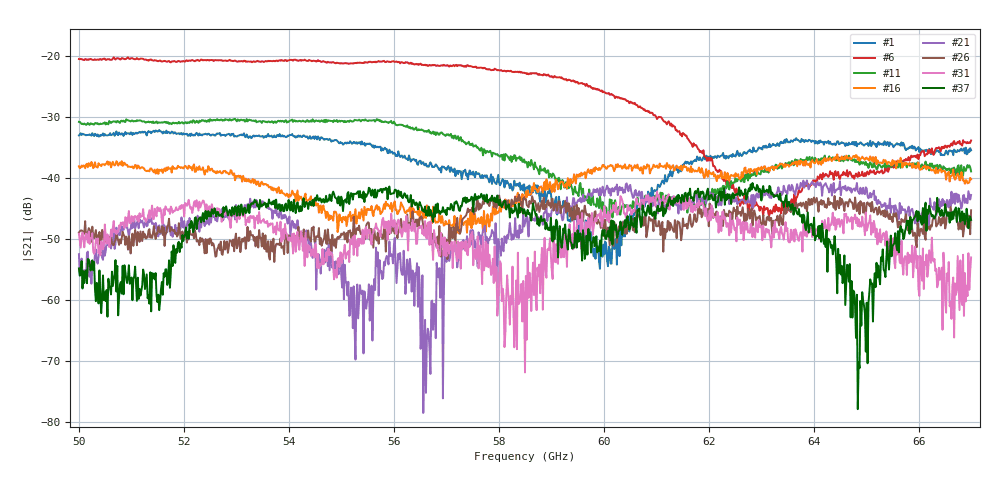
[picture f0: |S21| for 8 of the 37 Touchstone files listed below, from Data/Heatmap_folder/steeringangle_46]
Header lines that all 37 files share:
!Created with skrf (http://scikit-rf.org).
# GHz S RI R 50.0
!freq ReS11 ImS11 ReS21 ImS21 ReS12 ImS12 ReS22 ImS22
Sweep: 50 GHz to 67 GHz
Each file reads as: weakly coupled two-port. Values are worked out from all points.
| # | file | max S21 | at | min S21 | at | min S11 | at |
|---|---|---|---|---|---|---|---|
| 1 | az=0_el=0.s2p | -32.14 dB | 51.53 GHz | -54.9 dB | 59.93 GHz | -45.8 dB | 58.23 GHz |
| 2 | az=1_el=0.s2p | -26.58 dB | 50.71 GHz | -42.5 dB | 62.1 GHz | -47.5 dB | 58.23 GHz |
| 3 | az=2_el=0.s2p | -22.76 dB | 51 GHz | -48.5 dB | 62.63 GHz | -49.7 dB | 58.23 GHz |
| 4 | az=3_el=0.s2p | -20.72 dB | 51 GHz | -48.8 dB | 63.21 GHz | -43.8 dB | 58.23 GHz |
| 5 | az=4_el=0.s2p | -19.87 dB | 50.92 GHz | -44.4 dB | 63.57 GHz | -47.1 dB | 58.23 GHz |
| 6 | az=5_el=0.s2p | -20.23 dB | 50.94 GHz | -46.3 dB | 63.04 GHz | -44.5 dB | 66.49 GHz |
| 7 | az=7_el=0.s2p | -24.17 dB | 50.85 GHz | -44.9 dB | 61.36 GHz | -45.8 dB | 66.49 GHz |
| 8 | az=8_el=0.s2p | -26.97 dB | 50.95 GHz | -66.9 dB | 60.47 GHz | -58.1 dB | 66.49 GHz |
| 9 | az=9_el=0.s2p | -28.84 dB | 50.73 GHz | -44.4 dB | 60.69 GHz | -48.8 dB | 66.49 GHz |
| 10 | az=10_el=0.s2p | -29.02 dB | 56.03 GHz | -66.0 dB | 61.17 GHz | -48.8 dB | 66.49 GHz |
| 11 | az=11_el=0.s2p | -30.33 dB | 52.98 GHz | -47.2 dB | 60.1 GHz | -61.8 dB | 66.49 GHz |
| 12 | az=12_el=0.s2p | -32.80 dB | 50.85 GHz | -54.1 dB | 58.01 GHz | -49.2 dB | 66.49 GHz |
| 13 | az=13_el=0.s2p | -35.36 dB | 63.41 GHz | -46.6 dB | 60.05 GHz | -54.3 dB | 66.49 GHz |
| 14 | az=14_el=0.s2p | -35.42 dB | 54.06 GHz | -74.5 dB | 60.61 GHz | -52.7 dB | 66.49 GHz |
| 15 | az=15_el=0.s2p | -35.26 dB | 52.94 GHz | -43.1 dB | 63.02 GHz | -48.1 dB | 66.49 GHz |
| 16 | az=16_el=0.s2p | -36.14 dB | 64.45 GHz | -49.1 dB | 57.24 GHz | -46.7 dB | 66.49 GHz |
| 17 | az=17_el=0.s2p | -39.61 dB | 59.77 GHz | -57.8 dB | 56.66 GHz | -58.6 dB | 66.49 GHz |
| 18 | az=18_el=0.s2p | -38.97 dB | 66.8 GHz | -55.8 dB | 60.39 GHz | -44.0 dB | 66.49 GHz |
| 19 | az=19_el=0.s2p | -37.15 dB | 65.84 GHz | -59.7 dB | 58.26 GHz | -44.8 dB | 58.23 GHz |
| 20 | az=20_el=0.s2p | -38.06 dB | 60.54 GHz | -71.3 dB | 56.29 GHz | -46.2 dB | 66.49 GHz |
| 21 | az=21_el=0.s2p | -40.39 dB | 63.87 GHz | -78.5 dB | 56.56 GHz | -53.1 dB | 66.49 GHz |
| 22 | az=22_el=0.s2p | -38.93 dB | 63.04 GHz | -78.5 dB | 57.67 GHz | -47.5 dB | 66.49 GHz |
| 23 | az=23_el=0.s2p | -38.44 dB | 62.44 GHz | -75.8 dB | 55.97 GHz | -50.8 dB | 66.49 GHz |
| 24 | az=24_el=0.s2p | -39.89 dB | 61.95 GHz | -85.0 dB | 55.36 GHz | -49.8 dB | 66.49 GHz |
| 25 | az=25_el=0.s2p | -41.37 dB | 59.81 GHz | -62.7 dB | 54.86 GHz | -44.7 dB | 66.49 GHz |
| 26 | az=26_el=0.s2p | -42.71 dB | 58.38 GHz | -53.8 dB | 53.72 GHz | -55.4 dB | 66.49 GHz |
| 27 | az=27_el=0.s2p | -42.43 dB | 63.7 GHz | -64.8 dB | 50.37 GHz | -44.7 dB | 63.69 GHz |
| 28 | az=30_el=0.s2p | -41.11 dB | 58.6 GHz | -75.3 dB | 65.23 GHz | -63.6 dB | 66.49 GHz |
| 29 | az=31_el=0.s2p | -41.10 dB | 62.27 GHz | -58.4 dB | 50.44 GHz | -43.6 dB | 66.49 GHz |
| 30 | az=32_el=0.s2p | -40.32 dB | 61.46 GHz | -61.3 dB | 50.03 GHz | -44.2 dB | 66.49 GHz |
| 31 | az=33_el=0.s2p | -42.22 dB | 61.02 GHz | -71.9 dB | 58.5 GHz | -45.1 dB | 66.49 GHz |
| 32 | az=34_el=0.s2p | -43.67 dB | 55.32 GHz | -80.8 dB | 62.33 GHz | -46.3 dB | 63.69 GHz |
| 33 | az=35_el=0.s2p | -41.19 dB | 63.72 GHz | -81.1 dB | 66.58 GHz | -44.0 dB | 63.69 GHz |
| 34 | az=36_el=0.s2p | -38.41 dB | 63.07 GHz | -61.3 dB | 57.05 GHz | -45.6 dB | 66.49 GHz |
| 35 | az=37_el=0.s2p | -39.25 dB | 61.9 GHz | -69.1 dB | 59.38 GHz | -42.0 dB | 66.49 GHz |
| 36 | az=38_el=0.s2p | -41.42 dB | 56.2 GHz | -69.8 dB | 52.4 GHz | -40.9 dB | 66.49 GHz |
| 37 | az=39_el=0.s2p | -40.83 dB | 62.84 GHz | -77.9 dB | 64.84 GHz | -42.6 dB | 66.49 GHz |
